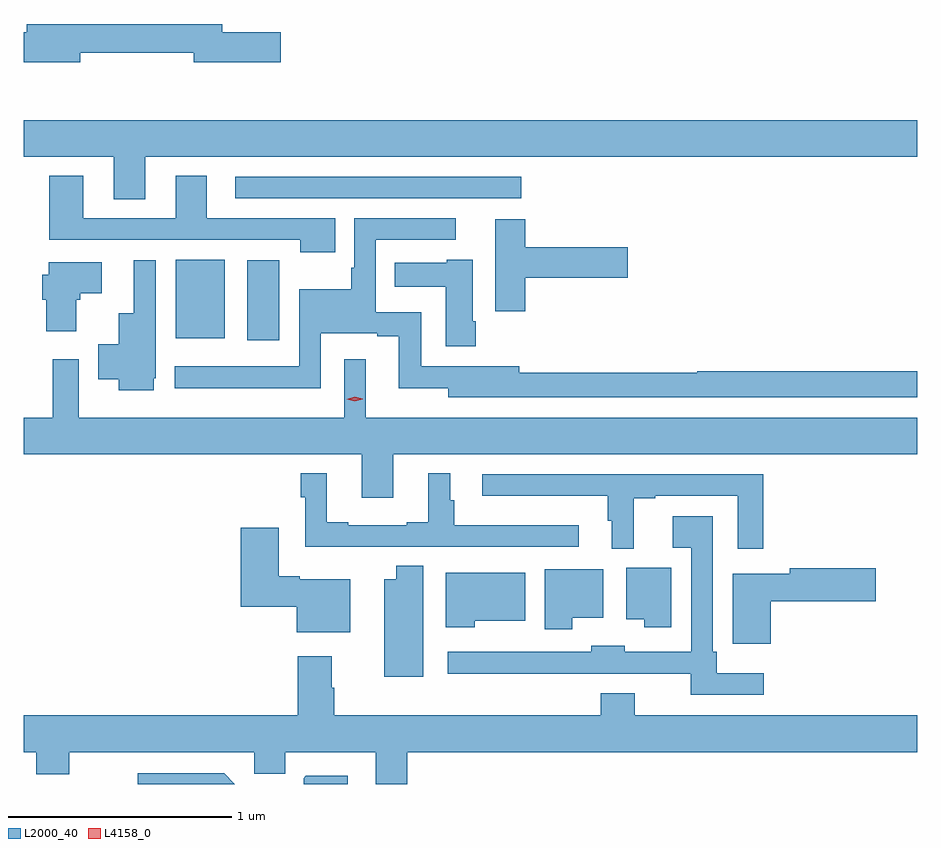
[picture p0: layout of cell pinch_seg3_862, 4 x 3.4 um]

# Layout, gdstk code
import gdstk
lib = gdstk.Library(unit=1e-6, precision=1e-09)
def R(c, l, rs):  # rectangles x0, y0, x1, y1
    for r in rs: c.add(gdstk.rectangle(r[:2], r[2:], *l))
def P(c, l, *ps):  # polygons
    for p in ps: c.add(gdstk.Polygon(p, *l))
L2000_40 = (2000, 40)
L4158_0 = (4158, 0)

pinch_seg3_862 = lib.new_cell('pinch_seg3_862')
R(pinch_seg3_862, L2000_40, [(708.818,704.091,708.961,704.449), (708.497,704.099,708.718,704.452), (708.765,704.727,710.044,704.823)])
P(pinch_seg3_862, L2000_40, [(708.07,705.378),(708.578,705.378),(708.578,705.335),(708.967,705.335),(708.967,705.47),(708.706,705.47),(708.706,705.506),(707.831,705.506),(707.831,705.47),(707.817,705.47),(707.817,705.335),(708.07,705.335)],
  [(708.361,704.912),(711.817,704.912),(711.817,705.076),(707.817,705.076),(707.817,704.912),(708.221,704.912),(708.221,704.722),(708.361,704.722)],
  [(709.211,704.637),(708.637,704.637),(708.637,704.827),(708.497,704.827),(708.497,704.637),(708.085,704.637),(708.085,704.827),(707.933,704.827),(707.933,704.541),(709.055,704.541),(709.055,704.484),(709.211,704.484)],
  [(709.931,703.836),(711.817,703.836),(711.817,703.952),(710.831,703.952),(710.831,703.945),(710.035,703.945),(710.035,703.975),(709.597,703.975),(709.597,704.217),(709.392,704.217),(709.392,704.541),(709.75,704.541),(709.75,704.637),(709.296,704.637),(709.296,704.416),(709.284,704.416),(709.284,704.32),(709.05,704.32),(709.05,703.974),(708.494,703.974),(708.494,703.877),(709.146,703.877),(709.146,704.121),(709.4,704.121),(709.4,704.109),(709.496,704.109),(709.496,703.877),(709.718,703.877),(709.718,703.835),(709.931,703.835)],
  [(710.063,704.371),(710.521,704.371),(710.521,704.508),(710.063,704.508),(710.063,704.632),(709.928,704.632),(709.928,704.22),(710.063,704.22)],
  [(709.841,704.176),(709.828,704.176),(709.828,704.452),(709.71,704.452),(709.71,704.437),(709.479,704.437),(709.479,704.33),(709.706,704.33),(709.706,704.064),(709.841,704.064)],
  [(708.4,703.92),(708.408,703.92),(708.408,704.449),(708.311,704.449),(708.311,704.212),(708.242,704.212),(708.242,704.074),(708.152,704.074),(708.152,703.916),(708.242,703.916),(708.242,703.868),(708.4,703.868)],
  [(708.052,704.271),(708.07,704.271),(708.07,704.3),(708.166,704.3),(708.166,704.44),(707.93,704.44),(707.93,704.385),(707.9,704.385),(707.9,704.271),(707.918,704.271),(707.918,704.13),(708.052,704.13)],
  [(709.471,703.58),(711.817,703.58),(711.817,703.744),(709.348,703.744),(709.348,704.005),(709.251,704.005),(709.251,703.744),(708.064,703.744),(708.064,704.005),(707.947,704.005),(707.947,703.744),(707.817,703.744),(707.817,703.58),(709.331,703.58),(709.331,703.386),(709.471,703.386)],
  [(709.388,703.167),(710.302,703.167),(710.302,703.264),(709.745,703.264),(709.745,703.374),(709.726,703.374),(709.726,703.495),(709.628,703.495),(709.628,703.276),(709.532,703.276),(709.532,703.263),(709.27,703.263),(709.27,703.276),(709.174,703.276),(709.174,703.495),(709.057,703.495),(709.057,703.388),(709.077,703.388),(709.077,703.166),(709.388,703.166)],
  [(710.548,703.383),(710.644,703.383),(710.644,703.395),(711.012,703.395),(711.012,703.158),(711.128,703.158),(711.128,703.491),(709.869,703.491),(709.869,703.394),(710.431,703.394),(710.431,703.284),(710.45,703.284),(710.45,703.158),(710.548,703.158)],
  [(711.13,702.601),(710.918,702.601),(710.918,702.697),(710.901,702.697),(710.901,703.303),(710.721,703.303),(710.721,703.163),(710.805,703.163),(710.805,702.696),(710.508,702.696),(710.508,702.724),(710.358,702.724),(710.358,702.696),(710.054,702.696),(710.054,702.697),(709.716,702.697),(709.716,702.599),(710.803,702.599),(710.803,702.504),(711.13,702.504)],
  [(709.279,703.021),(709.054,703.021),(709.054,703.034),(708.958,703.034),(708.958,703.252),(708.788,703.252),(708.788,702.899),(709.04,702.899),(709.04,702.785),(709.279,702.785)],
  [(709.606,703.082),(709.484,703.082),(709.484,703.021),(709.43,703.021),(709.43,702.584),(709.606,702.584)],
  [(710.716,703.072),(710.513,703.072),(710.513,702.842),(710.594,702.842),(710.594,702.806),(710.716,702.806)],
  [(711.16,702.923),(711.631,702.923),(711.631,703.07),(711.246,703.07),(711.246,703.045),(710.99,703.045),(710.99,702.835),(710.991,702.835),(710.991,702.732),(711.16,702.732)],
  [(710.272,702.848),(710.41,702.848),(710.41,703.066),(710.15,703.066),(710.15,702.798),(710.272,702.798)],
  [(709.836,702.836),(710.062,702.836),(710.062,703.051),(709.706,703.051),(709.706,702.806),(709.836,702.806)],
  [(709.534,702.248),(711.817,702.248),(711.817,702.412),(710.551,702.412),(710.551,702.511),(710.399,702.511),(710.399,702.412),(709.208,702.412),(709.208,702.536),(709.195,702.536),(709.195,702.676),(709.043,702.676),(709.043,702.412),(707.817,702.412),(707.817,702.248),(707.873,702.248),(707.873,702.149),(708.021,702.149),(708.021,702.248),(708.849,702.248),(708.849,702.15),(708.988,702.15),(708.988,702.248),(709.394,702.248),(709.394,702.105),(709.534,702.105)],
  [(708.714,702.153),(708.327,702.153),(708.327,702.105),(708.762,702.105)],
  [(709.267,702.141),(709.08,702.141),(709.07,702.131),(709.07,702.105),(709.267,702.105)])
P(pinch_seg3_862, L4158_0, [(709.3,703.817),(709.264,703.826),(709.264,703.826),(709.264,703.826),(709.299,703.837),(709.335,703.828),(709.335,703.828),(709.335,703.827)])

lib.write_gds('pinch_seg3_862.gds')
